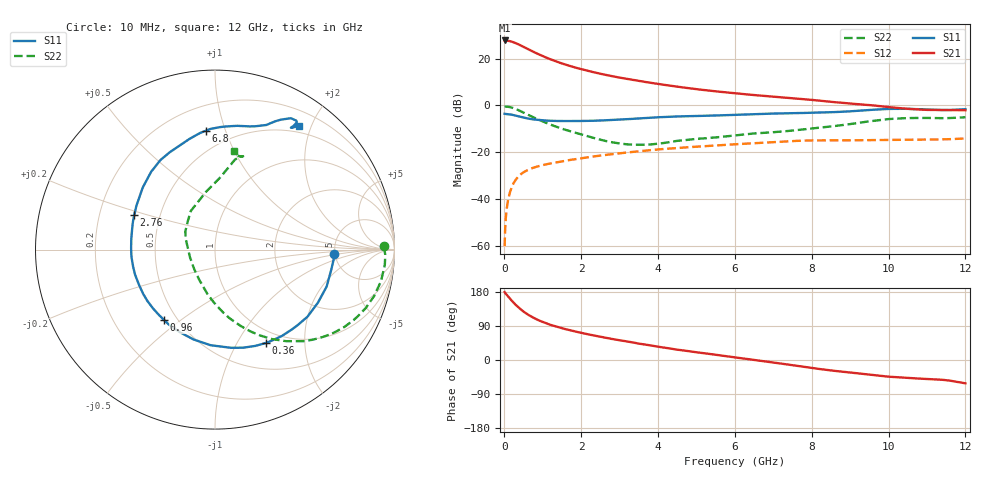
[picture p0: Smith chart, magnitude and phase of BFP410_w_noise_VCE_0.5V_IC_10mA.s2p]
! Infineon Technologies  Discrete & RF Semiconductors
! BFP410
! VCE =  0.5 V,  IC =  10 mA
! Common Emitter S-Parameters:  Nov 2015
# GHz  S  MA  R  50
!  f  S11  S21  S12  S22
! GHz  MAG  ANG  MAG  ANG  MAG  ANG  MAG  ANG
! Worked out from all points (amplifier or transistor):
!   243 points, 10 MHz to 12 GHz, reference 50 ohm
!   highest |S21| = 27.7 dB at 20 MHz (marker M1)
!   |S21| within 3 dB of that: start of sweep to 534.8 MHz
!   unconditionally stable (mu >= 1): start of sweep to 12 MHz; 2.207 GHz to end of sweep
!   at 240 MHz: K = 0.20, MSG = 30.1 dB, |S12| = -33.2 dB
!   at 1.84 GHz: K = 0.90, MSG = 19.6 dB, |S12| = -22.9 dB
!   at 12 GHz: K = 1.00, MAG = 5.9 dB, |S12| = -14.1 dB
!   lowest NFmin = 1.28 dB at 900 MHz
!   S11 on the Smith chart (normalised r, x): 10 MHz: 4.94, -0.47; 360 MHz: 0.83, -1.32; 960 MHz: 0.42, -0.43; 2.76 GHz: 0.36, +0.18; 6.8 GHz: 0.36, +0.86; 12 GHz: 0.40, +1.82
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0.01  0.6657 -2.3  23.87 179.4  0.001 106.6  0.9411 1.1
0.02  0.6655 -3.6  24.38 177.4  0.0019 88.9  0.9492 -1.8
0.1  0.6551 -18.4  24.04 167.8  0.0097 80.9  0.9414 -10.8
0.2  0.6367 -35.9  22.93 156.1  0.0185 73.8  0.9002 -21.3
0.3  0.6083 -52.5  21.35 145.3  0.0261 66.9  0.841 -30.7
0.36  0.5919 -61.6  20.31 139.7  0.0301 63.4  0.8013 -35.8
0.4  0.5817 -67.3  19.61 136.0  0.0324 61.3  0.7743 -38.9
0.5  0.5543 -80.8  17.86 127.8  0.0376 56.8  0.7081 -46.1
0.6  0.5332 -92.7  16.21 120.6  0.0417 53.2  0.6456 -52.2
0.8  0.5005 -112.7  13.44 109.3  0.0483 48.2  0.5401 -62.3
0.96  0.4841 -126.1  11.71 102.0  0.0525 45.5  0.4722 -68.9
1.2  0.4732 -142.5  9.691 92.8  0.0581 42.9  0.3923 -77.9
1.4  0.4673 -153.6  8.396 86.6  0.0623 41.4  0.3413 -84.2
1.68  0.466 -166.5  7.086 79.1  0.0683 39.7  0.2879 -92.3
2.02  0.4673 -179.6  5.916 71.3  0.0756 38.0  0.2393 -101.9
2.76  0.4891 157.0  4.292 56.4  0.0907 33.5  0.1672 -129.7
4.1  0.5648 127.7  2.807 33.6  0.1172 24.0  0.1566 171.5
6.1  0.6364 101.9  1.792 5.6  0.1504 8.7  0.2345 127.9
6.8  0.6649 94.2  1.594 -3.9  0.1625 2.8  0.2624 117.5
8.2  0.7059 77.1  1.268 -23.7  0.18 -12.2  0.3362 96.5
10.2  0.8472 58.9  0.894 -45.3  0.1843 -27.1  0.524 76.3
12  0.8335 55.9  0.793 -61.6  0.1979 -40.4  0.5615 78.9
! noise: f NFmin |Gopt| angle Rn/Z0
0.45  1.31  0.05  -19  0.16
0.9  1.28  0.04  1  0.16
1.8  1.42  0.03  -159  0.16
2.4  1.4  0.09  -121  0.17
5.5  2.27  0.35  -113  0.27
10  3.42  0.67  -49  1.87
